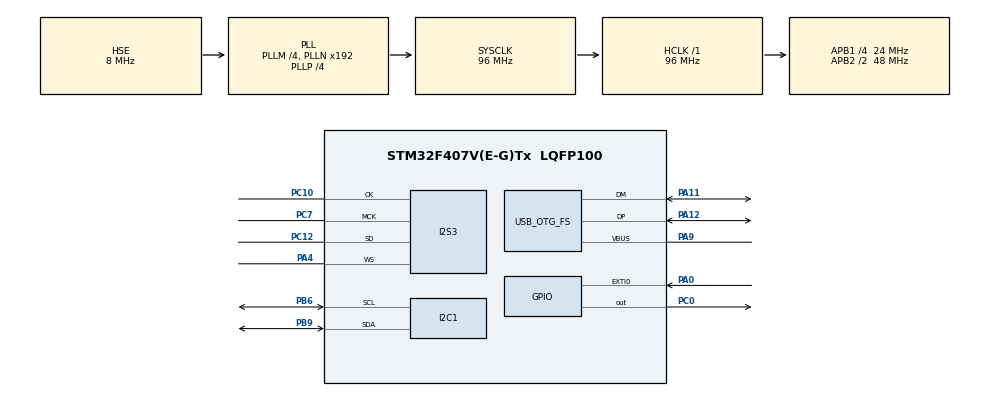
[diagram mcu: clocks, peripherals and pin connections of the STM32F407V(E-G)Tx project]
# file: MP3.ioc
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Dma.Request0=SPI3_TX
Dma.SPI3_TX.0.Direction=DMA_MEMORY_TO_PERIPH
Dma.SPI3_TX.0.FIFOMode=DMA_FIFOMODE_ENABLE
Dma.SPI3_TX.0.FIFOThreshold=DMA_FIFO_THRESHOLD_FULL
Dma.SPI3_TX.0.Instance=DMA1_Stream5
Dma.SPI3_TX.0.MemBurst=DMA_MBURST_SINGLE
Dma.SPI3_TX.0.MemDataAlignment=DMA_MDATAALIGN_HALFWORD
Dma.SPI3_TX.0.MemInc=DMA_MINC_ENABLE
Dma.SPI3_TX.0.Mode=DMA_CIRCULAR
Dma.SPI3_TX.0.PeriphBurst=DMA_PBURST_SINGLE
Dma.SPI3_TX.0.PeriphDataAlignment=DMA_PDATAALIGN_HALFWORD
Dma.SPI3_TX.0.PeriphInc=DMA_PINC_DISABLE
Dma.SPI3_TX.0.Priority=DMA_PRIORITY_LOW
FATFS._USE_LFN=1
I2S3.ErrorAudioFreq=0.15 %
I2S3.FullDuplexMode=I2S_FULLDUPLEXMODE_DISABLE
I2S3.Instance=SPI$Index
I2S3.RealAudioFreq=8.012 KHz
I2S3.VirtualMode=I2S_MODE_MASTER
Mcu.Family=STM32F4
Mcu.Name=STM32F407V(E-G)Tx
Mcu.Package=LQFP100
NVIC.DMA1_Stream5_IRQn=true\:0\:0\:false\:false\:true\:false\:true\:true
NVIC.EXTI0_IRQn=true\:0\:0\:false\:false\:true\:true\:true\:true
NVIC.OTG_FS_IRQn=true\:0\:0\:false\:false\:true\:true\:true\:true
NVIC.PriorityGroup=NVIC_PRIORITYGROUP_0
PA0-WKUP.GPIO_PuPd=GPIO_PULLDOWN
PA0-WKUP.Signal=GPXTI0
PA11.Mode=Host_Only
PA11.Signal=USB_OTG_FS_DM
PA12.Mode=Host_Only
PA12.Signal=USB_OTG_FS_DP
PA4.Mode=Half_Duplex_Master
PA4.Signal=I2S3_WS
PA9.Mode=Activate_VBUS
PA9.Signal=USB_OTG_FS_VBUS
PB6.Mode=I2C
PB6.Signal=I2C1_SCL
PB9.Mode=I2C
PB9.Signal=I2C1_SDA
PC0.Signal=GPIO_Output
PC10.Mode=Half_Duplex_Master
PC10.Signal=I2S3_CK
PC12.Mode=Half_Duplex_Master
PC12.Signal=I2S3_SD
PC7.Mode=Master_Clock_Activated
PC7.Signal=I2S3_MCK
PH0-OSC_IN.Mode=HSE-External-Oscillator
PH0-OSC_IN.Signal=RCC_OSC_IN
PH1-OSC_OUT.Mode=HSE-External-Oscillator
PH1-OSC_OUT.Signal=RCC_OSC_OUT
ProjectManager.HeapSize=0x200
ProjectManager.StackSize=0x400
ProjectManager.TargetToolchain=STM32CubeIDE
RCC.48MHZClocksFreq_Value=48000000
RCC.AHBFreq_Value=96000000
RCC.APB1CLKDivider=RCC_HCLK_DIV4
RCC.APB1Freq_Value=24000000
RCC.APB1TimFreq_Value=48000000
RCC.APB2CLKDivider=RCC_HCLK_DIV2
RCC.APB2Freq_Value=48000000
RCC.APB2TimFreq_Value=96000000
RCC.CortexFreq_Value=96000000
RCC.HCLKFreq_Value=96000000
RCC.HSE_VALUE=8000000
RCC.HSI_VALUE=16000000
RCC.LSE_VALUE=32768
RCC.PLLI2SN=160
RCC.PLLM=4
RCC.PLLP=RCC_PLLP_DIV4
RCC.PLLQ=8
RCC.SYSCLKFreq_VALUE=96000000
RCC.SYSCLKSource=RCC_SYSCLKSOURCE_PLLCLK
RCC.VCOOutputFreq_Value=384000000
USB_HOST.BSP.number=1
USB_HOST.USBH_HandleTypeDef-MSC_FS=hUsbHostFS
USB_HOST.VirtualModeFS=Msc
USB_HOST0.BSP.STBoard=false
USB_HOST0.BSP.api=Unknown
USB_HOST0.BSP.condition=SW_VBUS_DRIVE_MSC_FS \= false
USB_HOST0.BSP.instance=PC0
USB_HOST0.BSP.ip=GPIO
USB_HOST0.BSP.mode=Output
USB_HOST0.BSP.name=Drive_VBUS_FS
USB_HOST0.BSP.solution=PC0
USB_OTG_FS.VirtualMode=Host_Only
USB_OTG_FS.phy_itface=HCD_PHY_EMBEDDED
VP_FATFS_VS_USB.Mode=USB
VP_USB_HOST_VS_USB_HOST_MSC_FS.Mode=MSC_FS
board=STM32F407G-DISC1

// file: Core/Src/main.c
/* USER CODE BEGIN Header */
/**
  ******************************************************************************
  * @file           : main.c
  * @brief          : Main program body
  ******************************************************************************
  * @attention
  *
  * Copyright (c) 2025 STMicroelectronics.
  * All rights reserved.
  *
  * This software is licensed under terms that can be found in the LICENSE file
  * in the root directory of this software component.
  * If no LICENSE file comes with this software, it is provided AS-IS.
  *
  ******************************************************************************
  */
/* USER CODE END Header */
#include "main.h"
#include "fatfs.h"
#include "usb_host.h"

/* USER CODE BEGIN Includes */
#include "waveplayer.h"
#include "File_handling.h"

/* USER CODE END Includes */

I2C_HandleTypeDef hi2c1;

I2S_HandleTypeDef hi2s3;
DMA_HandleTypeDef hdma_spi3_tx;

void SystemClock_Config(void);
static void MX_GPIO_Init(void);
static void MX_DMA_Init(void);
static void MX_I2C1_Init(void);
static void MX_I2S3_Init(void);
void MX_USB_HOST_Process(void);

/* USER CODE BEGIN 0 */

extern ApplicationTypeDef Appli_state; //variable externa en usb_host.c
extern AUDIO_PLAYBACK_StateTypeDef AudioState;  //variable externa en uwaveplayer.c

int IsFinished = 0;

void HAL_GPIO_EXTI_Callback(uint16_t GPIO_Pin)
{
	if (GPIO_Pin == GPIO_PIN_0 ) //se pueden añadir mas botones
	{
		//AudioState = AUDIO_STATE_NEXT; //Aqui se selecciona que hace el boton
		if (AudioState == AUDIO_STATE_PLAY )
		{
			AudioState = AUDIO_STATE_PAUSE;
		}
		if (AudioState == AUDIO_STATE_WAIT )
		{
			AudioState = AUDIO_STATE_RESUME;
		}
	}
}
/* USER CODE END 0 */

int main(void)
{

  /* MCU Configuration--------------------------------------------------------*/

  /* Reset of all peripherals, Initializes the Flash interface and the Systick. */
  HAL_Init();

  /* Configure the system clock */
  SystemClock_Config();

  /* Initialize all configured peripherals */
  MX_GPIO_Init();
  MX_DMA_Init();
  MX_I2C1_Init();
  MX_I2S3_Init();
  MX_USB_HOST_Init();
  MX_FATFS_Init();

  /* Infinite loop */
  while (1)
  {
    MX_USB_HOST_Process();

    /* USER CODE BEGIN 3 */
    if (Appli_state == APPLICATION_READY)
    {
    	Mount_USB();
    	AUDIO_PLAYER_Start(0); //El cero indica el indice del archivo de audio

    	while (!IsFinished)
    	{
    		AUDIO_PLAYER_Process(true); //LOOP TRUE: Despues de que el ultimo audio termine, empieza con el primero
    		if (AudioState == AUDIO_STATE_STOP )
    		{
    			IsFinished = 1 ;
    		}
    	}

    }

  }
  /* USER CODE END 3 */
}

void SystemClock_Config(void)
{
  RCC_OscInitTypeDef RCC_OscInitStruct = {0};
  RCC_ClkInitTypeDef RCC_ClkInitStruct = {0};

  /** Configure the main internal regulator output voltage
  */
  __HAL_RCC_PWR_CLK_ENABLE();
  __HAL_PWR_VOLTAGESCALING_CONFIG(PWR_REGULATOR_VOLTAGE_SCALE1);

  /** Initializes the RCC Oscillators according to the specified parameters
  * in the RCC_OscInitTypeDef structure.
  */
  RCC_OscInitStruct.OscillatorType = RCC_OSCILLATORTYPE_HSE;
  RCC_OscInitStruct.HSEState = RCC_HSE_ON;
  RCC_OscInitStruct.PLL.PLLState = RCC_PLL_ON;
  RCC_OscInitStruct.PLL.PLLSource = RCC_PLLSOURCE_HSE;
  RCC_OscInitStruct.PLL.PLLM = 4;
  RCC_OscInitStruct.PLL.PLLN = 192;
  RCC_OscInitStruct.PLL.PLLP = RCC_PLLP_DIV4;
  RCC_OscInitStruct.PLL.PLLQ = 8;
  if (HAL_RCC_OscConfig(&RCC_OscInitStruct) != HAL_OK)
  {
    Error_Handler();
  }

  /** Initializes the CPU, AHB and APB buses clocks
  */
  RCC_ClkInitStruct.ClockType = RCC_CLOCKTYPE_HCLK|RCC_CLOCKTYPE_SYSCLK
                              |RCC_CLOCKTYPE_PCLK1|RCC_CLOCKTYPE_PCLK2;
  RCC_ClkInitStruct.SYSCLKSource = RCC_SYSCLKSOURCE_PLLCLK;
  RCC_ClkInitStruct.AHBCLKDivider = RCC_SYSCLK_DIV1;
  RCC_ClkInitStruct.APB1CLKDivider = RCC_HCLK_DIV4;
  RCC_ClkInitStruct.APB2CLKDivider = RCC_HCLK_DIV2;

  if (HAL_RCC_ClockConfig(&RCC_ClkInitStruct, FLASH_LATENCY_3) != HAL_OK)
  {
    Error_Handler();
  }
}

static void MX_I2C1_Init(void)
{

  hi2c1.Instance = I2C1;
  hi2c1.Init.ClockSpeed = 100000;
  hi2c1.Init.DutyCycle = I2C_DUTYCYCLE_2;
  hi2c1.Init.OwnAddress1 = 0;
  hi2c1.Init.AddressingMode = I2C_ADDRESSINGMODE_7BIT;
  hi2c1.Init.DualAddressMode = I2C_DUALADDRESS_DISABLE;
  hi2c1.Init.OwnAddress2 = 0;
  hi2c1.Init.GeneralCallMode = I2C_GENERALCALL_DISABLE;
  hi2c1.Init.NoStretchMode = I2C_NOSTRETCH_DISABLE;
  if (HAL_I2C_Init(&hi2c1) != HAL_OK)
  {
    Error_Handler();
  }

}

static void MX_I2S3_Init(void)
{

  hi2s3.Instance = SPI3;
  hi2s3.Init.Mode = I2S_MODE_MASTER_TX;
  hi2s3.Init.Standard = I2S_STANDARD_PHILIPS;
  hi2s3.Init.DataFormat = I2S_DATAFORMAT_16B;
  hi2s3.Init.MCLKOutput = I2S_MCLKOUTPUT_ENABLE;
  hi2s3.Init.AudioFreq = I2S_AUDIOFREQ_8K;
  hi2s3.Init.CPOL = I2S_CPOL_LOW;
  hi2s3.Init.ClockSource = I2S_CLOCK_PLL;
  hi2s3.Init.FullDuplexMode = I2S_FULLDUPLEXMODE_DISABLE;
  if (HAL_I2S_Init(&hi2s3) != HAL_OK)
  {
    Error_Handler();
  }

}

static void MX_DMA_Init(void)
{

  /* DMA controller clock enable */
  __HAL_RCC_DMA1_CLK_ENABLE();

  /* DMA interrupt init */
  /* DMA1_Stream5_IRQn interrupt configuration */
  HAL_NVIC_SetPriority(DMA1_Stream5_IRQn, 0, 0);
  HAL_NVIC_EnableIRQ(DMA1_Stream5_IRQn);

}

static void MX_GPIO_Init(void)
{
  GPIO_InitTypeDef GPIO_InitStruct = {0};

  /* GPIO Ports Clock Enable */
  __HAL_RCC_GPIOH_CLK_ENABLE();
  __HAL_RCC_GPIOC_CLK_ENABLE();
  __HAL_RCC_GPIOA_CLK_ENABLE();
  __HAL_RCC_GPIOB_CLK_ENABLE();

  /*Configure GPIO pin Output Level */
  HAL_GPIO_WritePin(GPIOC, GPIO_PIN_0, GPIO_PIN_RESET);

  /*Configure GPIO pin : PC0 */
  GPIO_InitStruct.Pin = GPIO_PIN_0;
  GPIO_InitStruct.Mode = GPIO_MODE_OUTPUT_PP;
  GPIO_InitStruct.Pull = GPIO_NOPULL;
  GPIO_InitStruct.Speed = GPIO_SPEED_FREQ_LOW;
  HAL_GPIO_Init(GPIOC, &GPIO_InitStruct);

  /*Configure GPIO pin : PA0 */
  GPIO_InitStruct.Pin = GPIO_PIN_0;
  GPIO_InitStruct.Mode = GPIO_MODE_IT_RISING;
  GPIO_InitStruct.Pull = GPIO_PULLDOWN;
  HAL_GPIO_Init(GPIOA, &GPIO_InitStruct);

  /* EXTI interrupt init*/
  HAL_NVIC_SetPriority(EXTI0_IRQn, 0, 0);
  HAL_NVIC_EnableIRQ(EXTI0_IRQn);

}

void Error_Handler(void)
{
  __disable_irq();
  while (1)
  {
  }
}
